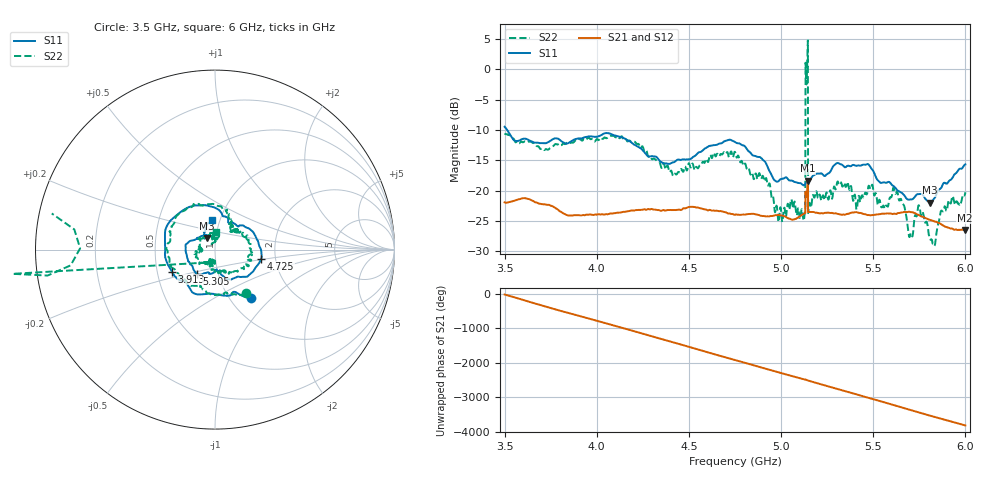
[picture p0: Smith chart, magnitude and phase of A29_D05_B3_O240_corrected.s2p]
! Created with skrf 1.9.0 (http://scikit-rf.org).
# Hz S RI R 50.0
!freq ReS11 ImS11 ReS21 ImS21 ReS12 ImS12 ReS22 ImS22
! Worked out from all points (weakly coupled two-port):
!   1601 points, 3.5 GHz to 6 GHz, reference 50 ohm
!   highest |S21| = -18.36 dB at 5.145 GHz (marker M1); lowest = -26.5 dB at 5.995 GHz (marker M2)
!   lowest |S11| = -22.0 dB at 5.808 GHz (marker M3), VSWR 1.17, Z = 45.2 + j5.85 ohm
!   |S11| at or under -10 dB: 3.514 GHz to end of sweep
!   |S22| runs from -29.2 to 4.8 dB; largest |S21 - S12| = 0.0012
!   S11 on the Smith chart (normalised r, x): 3.5 GHz: 1.25, -0.76; 3.913 GHz: 0.60, -0.16; 4.725 GHz: 1.68, -0.18; 5.305 GHz: 0.79, -0.22; 6 GHz: 0.92, +0.31
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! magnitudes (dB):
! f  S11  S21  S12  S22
! 3.5 GHz  -9.5  -21.9  -21.9  -10.5
! 3.913 GHz  -11.4  -24.1  -24.1  -11.6
! 3.917 GHz  -11.4  -24.1  -24.1  -11.7
! 4.334 GHz  -14.8  -23.2  -23.1  -15.3
! 4.725 GHz  -11.6  -23.8  -23.7  -13.8
! 4.75 GHz  -12.0  -24.0  -23.9  -13.6
! 4.928 GHz  -16.2  -24.2  -24.2  -19.1
! 4.978 GHz  -18.5  -24.0  -24.0  -22.9
! 5.114 GHz  -19.0  -24.0  -24.0  -23.2
! 5.119 GHz  -19.1  -23.9  -23.9  -24.4
! 5.133 GHz  -18.7  -20.2  -20.1  1.1
! 5.145 GHz  -18.5  -18.4  -18.3  4.8
! 5.159 GHz  -18.1  -23.5  -23.4  -22.6
! 5.167 GHz  -17.7  -23.5  -23.5  -21.8
! 5.305 GHz  -15.4  -23.8  -23.8  -18.6
! 5.584 GHz  -18.6  -23.8  -23.7  -21.9
! 5.622 GHz  -19.6  -23.8  -23.8  -20.5
! 5.703 GHz  -21.4  -23.5  -23.5  -27.0
! 5.756 GHz  -20.5  -24.2  -24.1  -23.7
! 5.808 GHz  -22.0  -24.8  -24.8  -27.9
! 5.995 GHz  -15.7  -26.5  -26.4  -20.8
! 6 GHz  -15.7  -26.5  -26.4  -20.3
